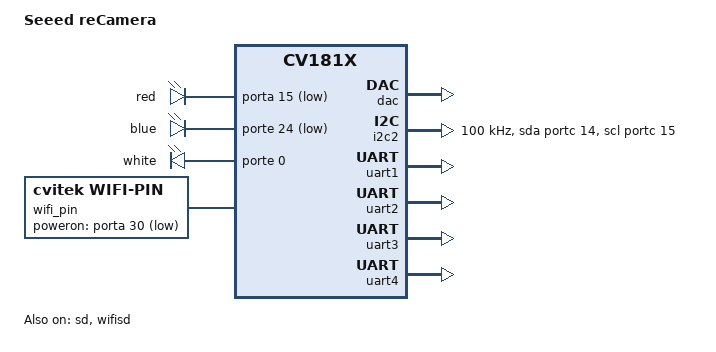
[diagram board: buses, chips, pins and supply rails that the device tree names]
/dts-v1/;
#include "cv181x_base_riscv.dtsi"
#include "cv181x_default_memmap.dtsi"
#include <dt-bindings/gpio/gpio.h>

&sd {
    status = "okay";
    no-1-8-v;
};

&mipi_rx{
    /delete-property/ snsr-reset;
};

&mipi_tx {
    /delete-property/ reset-gpio;
    /delete-property/ pwm-gpio;
    /delete-property/ power-ct-gpio;
};

&dac{
    status = "okay";
};

&spi0 {
    status = "disabled";
};

&spi1 {
    status = "disabled";
};

&spi2 {
    status = "disabled";
};

&spi3 {
    status = "disabled";
};

&i2c0 {
    status = "disabled";
};

&i2c1 {
    status = "disabled";
};

&i2c2 {
	status = "okay";
	clocks = <&clk CV181X_CLK_I2C>, <&clk CV181X_CLK_APB_I2C2>;
	clock-names = "ref", "pclk";
	resets = <&rst RST_I2C2>;
	reset-names = "i2c";
	clock-frequency = <100000>;

	// Enable GPIO recovery like the working system
	scl-gpios = <&portc 15 (GPIO_ACTIVE_HIGH | GPIO_OPEN_DRAIN)>;
	sda-gpios = <&portc 14 (GPIO_ACTIVE_HIGH | GPIO_OPEN_DRAIN)>;

	// Keep the pinmux registers
	scl-pinmux = <0x030011a0>;
	sda-pinmux = <0x0300119c>;
};

&i2c3 {
    status = "disabled";
};

&i2c4 {
    status = "disabled";
};

&uart1 {
    status = "okay";
};

&uart2 {
    status = "okay";
};

&uart3 {
    status = "okay";
};

&uart4 {
    status = "okay";
};

&wifisd {
    status = "okay";
};

/ {
    model = "Seeed reCamera";

    /delete-node/ cvi-spif@10000000;
    /delete-node/ cv-spinf@4060000;
    /delete-node/ cv-wd@0x3010000;

    leds {
        compatible = "gpio-leds";

        led0 {
            label = "red";
            gpios = <&porta 15 1>;
            linux,default-trigger = "heartbeat";
            default-state = "on";
        };

        led1 {
            label = "blue";
            gpios = <&porte 24 1>;
            linux,default-trigger = "mmc0";
            default-state = "on";
        };

        led2 {
            label = "white";
            gpios = <&porte 0 0>;
            default-state = "off";
        };
    };

    /delete-node/ bt_pin;
    /delete-node/ wifi_pin;
    wifi_pin {
        compatible = "cvitek,wifi-pin";
        poweron-gpio = <&porta 30 1>;
    };

    soc {
        watchdog0: cv-wd@0x3010000 {
            compatible = "snps,dw-wdt";
            reg = <0x0 0x03010000 0x0 0x1000>;
            resets = <&rst RST_WDT>;
            interrupts = <58 IRQ_TYPE_LEVEL_HIGH>;
            clocks = <&pclk>;
        };
    };

    // Camera (MIPI CSI)
    mipi_rx: cif {
        compatible = "cvitek,cif";
        reg = <0x0 0x0a0c2000 0x0 0x2000>, <0x0 0x0a0d0000 0x0 0x1000>,
              <0x0 0x0a0c4000 0x0 0x2000>, <0x0 0x0a0c6000 0x0 0x2000>,
              <0x0 0x03001c30 0x0 0x30>;
        reg-names = "csi_mac0", "csi_wrap0", "csi_mac1", "csi_mac2", "pad_ctrl";
        snsr-reset = <&porta 2 GPIO_ACTIVE_LOW>, <&porta 2 GPIO_ACTIVE_LOW>, <&porta 2 GPIO_ACTIVE_LOW>;
        resets = <&rst RST_CSIPHY0>, <&rst RST_CSIPHY1>,
            <&rst RST_CSIPHY0RST_APB>, <&rst RST_CSIPHY1RST_APB>;
        reset-names = "phy0", "phy1", "phy-apb0", "phy-apb1";
        clocks = <&clk CV181X_CLK_CAM0>, <&clk CV181X_CLK_CAM1>, <&clk CV181X_CLK_SRC_VIP_SYS_2>,
             <&clk CV181X_CLK_MIPIMPLL>, <&clk CV181X_CLK_DISPPLL>, <&clk CV181X_CLK_FPLL>;
        clock-names = "clk_cam0", "clk_cam1", "clk_sys_2",
                  "clk_mipimpll", "clk_disppll", "clk_fpll";
    };

    mipi_tx: mipi_tx {
        compatible = "cvitek,mipi_tx";
        reset-gpio = <&porte 2 GPIO_ACTIVE_LOW>;
        pwm-gpio = <&porte 0 GPIO_ACTIVE_HIGH>;
        power-ct-gpio = <&porte 1 GPIO_ACTIVE_HIGH>;
        clocks = <&clk CV181X_CLK_DISP_VIP>, <&clk CV181X_CLK_DSI_MAC_VIP>;
        clock-names = "clk_disp", "clk_dsi";
    };
};
